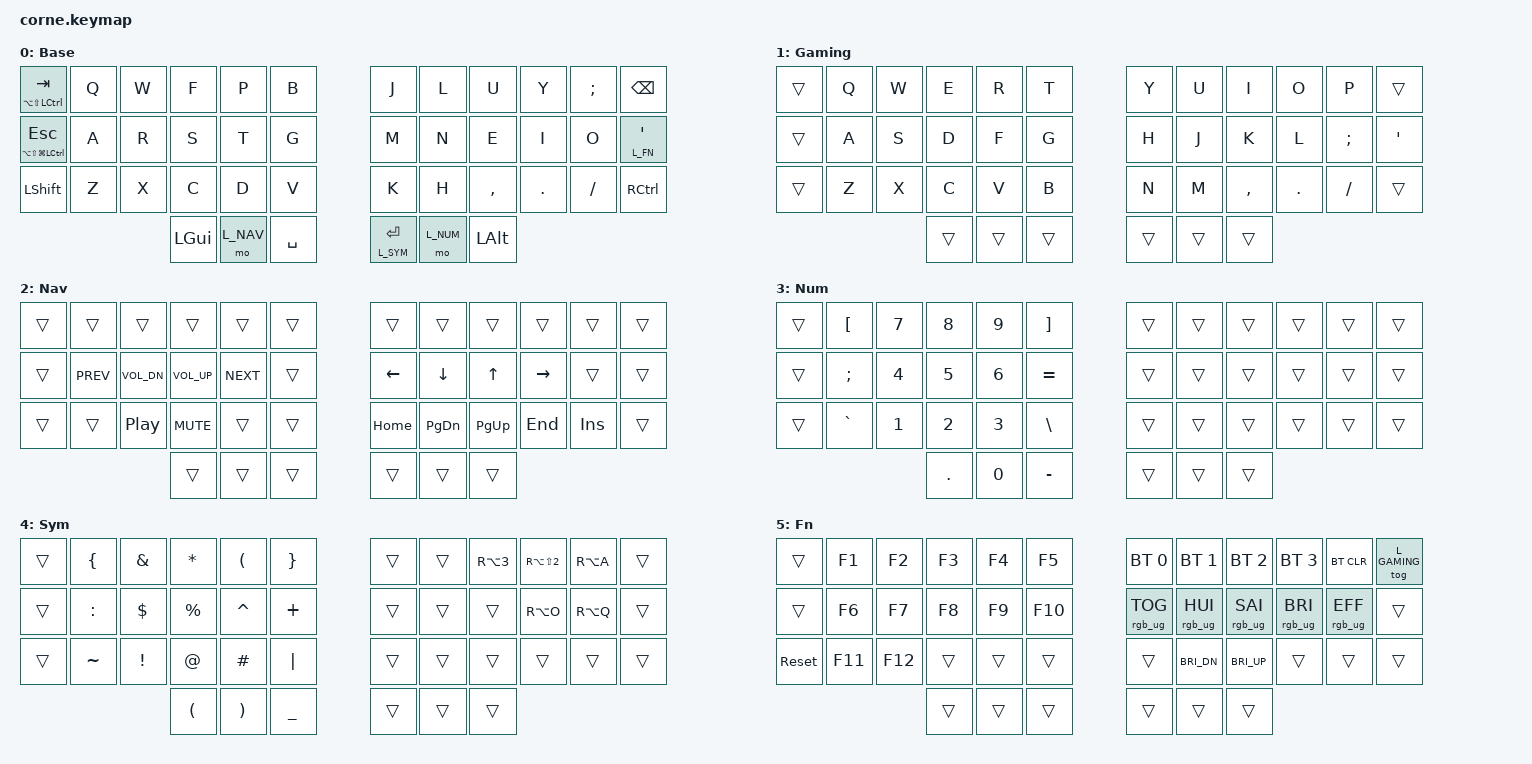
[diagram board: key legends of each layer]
// vim: ft=c
/*
 *
 * Inspired by:
 *  - https://github.com/urob/zmk-config
 *  - https://github.com/manna-harbour/miryoku
 *  - https://github.com/Vermoot/qmk_keymaps/tree/master/kyria/keymaps/Vermoot
 *  - https://github.com/minusfive/zmk-config
 *  - https://github.com/markstos/qmk_firmware/tree/markstos
 *
 */

#include <behaviors.dtsi>
#include <dt-bindings/zmk/keys.h>
#include <dt-bindings/zmk/bt.h>
#include <dt-bindings/zmk/rgb.h>

// define layer names
#define L_BASE 0
#define L_GAMING 1
#define L_NAV 2
#define L_NUM 3
#define L_SYM 4
#define L_FN 5

// global settings
#define TAPPING_TERM_MS 200
#define QUICK_TAP_MS 100

// key aliases
#define ___ &trans            // transparent, inherit key from lower layer
#define MEH LA(LS(LCTRL))     // meh modifier combo: ctrl+alt+shift
#define HYP LA(LS(LG(LCTRL))) // hyper modifier combo: ctrl+alt+command+shift

// mod-tap: long-tap action on hold, short-tap action on all interrupts
&mt {
  flavor = "tap-preferred";
  tapping-term-ms = <TAPPING_TERM_MS>;
  quick-tap-ms = <QUICK_TAP_MS>;
};

// light up all leds
&led_strip {
  chain-length = <27>;
};

// nice!view needs some tweaks to work with leds enabled
&nice_view_spi {
    cs-gpios = <&pro_micro 0 GPIO_ACTIVE_HIGH>;
};

// fn layer shortcuts
#define FN_RGB_TOG &rgb_ug RGB_TOG
#define FN_RGB_HUI &rgb_ug RGB_HUI
#define FN_RGB_SAI &rgb_ug RGB_SAI
#define FN_RGB_BRI &rgb_ug RGB_BRI
#define FN_RGB_EFF &rgb_ug RGB_EFF

/*                                      42 KEY MATRIX / LAYOUT MAPPING

  ╭────────────────────────┬────────────────────────╮ ╭─────────────────────────┬─────────────────────────╮
  │  0   1   2   3   4   5 │  6   7   8   9  10  11 │ │ LT5 LT4 LT3 LT2 LT1 LT0 │ RT0 RT1 RT2 RT3 RT4 RT5 │
  │ 12  13  14  15  16  17 │ 18  19  20  21  22  23 │ │ LM5 LM4 LM3 LM2 LM1 LM0 │ RM0 RM1 RM2 RM3 RM4 RM5 │
  │ 24  25  26  27  28  29 │ 30  31  32  33  34  35 │ │ LB5 LB4 LB3 LB2 LB1 LB0 │ RB0 RB1 RB2 RB3 RB4 RB5 │
  ╰───────────╮ 36  37  38 │ 39  40  41 ╭───────────╯ ╰───────────╮ LH2 LH1 LH0 │ RH0 RH1 RH2 ╭───────────╯
              ╰────────────┴────────────╯                         ╰─────────────┴─────────────╯             */

/ {
  keymap {
    compatible = "zmk,keymap";

    base_layer {
      label = "Base";
      bindings = <
        //╭───────────────┬───────────────┬───────────────┬───────────────┬───────────────┬───────────────╮     ╭───────────────┬───────────────┬───────────────┬───────────────┬───────────────┬───────────────╮
            &mt MEH TAB     &kp Q           &kp W           &kp F           &kp P           &kp B                 &kp J           &kp L           &kp U           &kp Y           &kp SEMI        &kp BSPC
        //├───────────────┼───────────────┼───────────────┼───────────────┼───────────────┤───────────────┤     ├───────────────┼───────────────┼───────────────┼───────────────┤───────────────┼───────────────┤
            &mt HYP ESC     &kp A           &kp R           &kp S           &kp T           &kp G                 &kp M           &kp N           &kp E           &kp I           &kp O           &lt L_FN SQT
        //├───────────────┼───────────────┼───────────────┼───────────────┼───────────────┤───────────────┤     ├───────────────┼───────────────┼───────────────┼───────────────┤───────────────┼───────────────┤
            &kp LSHIFT      &kp Z           &kp X           &kp C           &kp D           &kp V                 &kp K           &kp H           &kp COMMA       &kp DOT         &kp FSLH        &kp RCTRL
        //╰───────────────┼───────────────┴───────────────┼───────────────┼───────────────┤───────────────┤     ├───────────────┼───────────────┼───────────────┼───────────────┼───────────────┼───────────────╯
                                                            &kp LGUI        &mo L_NAV       &kp SPACE             &lt L_SYM RET   &mo L_NUM       &kp LALT
        //                                                ╰───────────────┴───────────────┴───────────────╯     ╰───────────────┴───────────────┴───────────────╯
      >;
    };

    gaming_layer {
      label = "Gaming";
      bindings = <
        //╭───────────────┬───────────────┬───────────────┬───────────────┬───────────────┬───────────────╮     ╭───────────────┬───────────────┬───────────────┬───────────────┬───────────────┬───────────────╮
            ___             &kp Q           &kp W           &kp E           &kp R           &kp T                 &kp Y           &kp U           &kp I           &kp O           &kp P           ___
        //├───────────────┼───────────────┼───────────────┼───────────────┼───────────────┤───────────────┤     ├───────────────┼───────────────┼───────────────┼───────────────┤───────────────┼───────────────┤
            ___             &kp A           &kp S           &kp D           &kp F           &kp G                 &kp H           &kp J           &kp K           &kp L           &kp SEMI        &kp SQT
        //├───────────────┼───────────────┼───────────────┼───────────────┼───────────────┤───────────────┤     ├───────────────┼───────────────┼───────────────┼───────────────┤───────────────┼───────────────┤
            ___             &kp Z           &kp X           &kp C           &kp V           &kp B                 &kp N           &kp M           &kp COMMA       &kp DOT         &kp FSLH       ___
        //╰───────────────┼───────────────┴───────────────┼───────────────┼───────────────┤───────────────┤     ├───────────────┼───────────────┼───────────────┼───────────────┼───────────────┼───────────────╯
                                                            ___             ___             ___                   ___             ___             ___
        //                                                ╰───────────────┴───────────────┴───────────────╯     ╰───────────────┴───────────────┴───────────────╯
      >;
    };

    nav_layer {
      label = "Nav";
      bindings = <
        //╭───────────────┬───────────────┬───────────────┬───────────────┬───────────────┬───────────────╮     ╭───────────────┬───────────────┬───────────────┬───────────────┬───────────────┬───────────────╮
            ___             ___             ___             ___             ___             ___                   ___             ___             ___             ___             ___             ___
        //├───────────────┼───────────────┼───────────────┼───────────────┼───────────────┤───────────────┤     ├───────────────┼───────────────┼───────────────┼───────────────┤───────────────┼───────────────┤
            ___             &kp C_PREV      &kp C_VOL_DN    &kp C_VOL_UP    &kp C_NEXT      ___                   &kp LEFT        &kp DOWN        &kp UP          &kp RIGHT       ___             ___
        //├───────────────┼───────────────┼───────────────┼───────────────┼───────────────┤───────────────┤     ├───────────────┼───────────────┼───────────────┼───────────────┤───────────────┼───────────────┤
            ___             ___             &kp C_PP        &kp C_MUTE      ___             ___                   &kp HOME        &kp PG_DN       &kp PG_UP       &kp END         &kp INS         ___
        //╰───────────────┼───────────────┴───────────────┼───────────────┼───────────────┤───────────────┤     ├───────────────┼───────────────┼───────────────┼───────────────┼───────────────┼───────────────╯
                                                            ___             ___             ___                   ___             ___             ___
        //                                                ╰───────────────┴───────────────┴───────────────╯     ╰───────────────┴───────────────┴───────────────╯
      >;
    };

    num_layer {
      label = "Num";
      bindings = <
        //╭───────────────┬───────────────┬───────────────┬───────────────┬───────────────┬───────────────╮     ╭───────────────┬───────────────┬───────────────┬───────────────┬───────────────┬───────────────╮
            ___             &kp LBKT        &kp N7          &kp N8          &kp N9          &kp RBKT              ___             ___             ___             ___             ___             ___
        //├───────────────┼───────────────┼───────────────┼───────────────┼───────────────┤───────────────┤     ├───────────────┼───────────────┼───────────────┼───────────────┤───────────────┼───────────────┤
            ___             &kp SEMI        &kp N4          &kp N5          &kp N6          &kp EQUAL             ___             ___             ___             ___             ___             ___
        //├───────────────┼───────────────┼───────────────┼───────────────┼───────────────┤───────────────┤     ├───────────────┼───────────────┼───────────────┼───────────────┤───────────────┼───────────────┤
            ___             &kp GRAVE       &kp N1          &kp N2          &kp N3          &kp BSLH              ___             ___             ___             ___             ___             ___
        //╰───────────────┼───────────────┴───────────────┼───────────────┼───────────────┤───────────────┤     ├───────────────┼───────────────┼───────────────┼───────────────┼───────────────┼───────────────╯
                                                            &kp DOT         &kp N0          &kp MINUS             ___             ___             ___
        //                                                ╰───────────────┴───────────────┴───────────────╯     ╰───────────────┴───────────────┴───────────────╯
      >;
    };

    sym_layer {
      label = "Sym";
      bindings = <
        //╭───────────────┬───────────────┬───────────────┬───────────────┬───────────────┬───────────────╮     ╭───────────────┬───────────────┬───────────────┬───────────────┬───────────────┬───────────────╮
            ___             &kp LBRC        &kp AMPS        &kp STAR        &kp LPAR        &kp RBRC              ___             ___             &kp RA(N3)      &kp RA(LS(N2))  &kp RA(A)       ___
        //├───────────────┼───────────────┼───────────────┼───────────────┼───────────────┤───────────────┤     ├───────────────┼───────────────┼───────────────┼───────────────┤───────────────┼───────────────┤
            ___             &kp COLON       &kp DOLLAR      &kp PRCNT       &kp CARET       &kp PLUS              ___             ___             ___             &kp RA(O)       &kp RA(Q)       ___
        //├───────────────┼───────────────┼───────────────┼───────────────┼───────────────┤───────────────┤     ├───────────────┼───────────────┼───────────────┼───────────────┤───────────────┼───────────────┤
            ___             &kp TILDE       &kp EXCL        &kp AT          &kp HASH        &kp PIPE              ___             ___             ___             ___             ___             ___
        //╰───────────────┼───────────────┴───────────────┼───────────────┼───────────────┤───────────────┤     ├───────────────┼───────────────┼───────────────┼───────────────┼───────────────┼───────────────╯
                                                            &kp LPAR        &kp RPAR        &kp UNDER             ___             ___             ___
        //                                                ╰───────────────┴───────────────┴───────────────╯     ╰───────────────┴───────────────┴───────────────╯
      >;
    };

    fn_layer {
      label = "Fn";
      bindings = <
        //╭───────────────┬───────────────┬───────────────┬───────────────┬───────────────┬───────────────╮     ╭───────────────┬───────────────┬───────────────┬───────────────┬───────────────┬───────────────╮
            ___             &kp F1          &kp F2          &kp F3          &kp F4          &kp F5                &bt BT_SEL 0    &bt BT_SEL 1    &bt BT_SEL 2    &bt BT_SEL 3    &bt BT_CLR      &tog L_GAMING
        //├───────────────┼───────────────┼───────────────┼───────────────┼───────────────┤───────────────┤     ├───────────────┼───────────────┼───────────────┼───────────────┤───────────────┼───────────────┤
            ___             &kp F6          &kp F7          &kp F8          &kp F9          &kp F10               FN_RGB_TOG      FN_RGB_HUI      FN_RGB_SAI      FN_RGB_BRI      FN_RGB_EFF      ___
        //├───────────────┼───────────────┼───────────────┼───────────────┼───────────────┤───────────────┤     ├───────────────┼───────────────┼───────────────┼───────────────┤───────────────┼───────────────┤
            &sys_reset      &kp F11         &kp F12         ___             ___             ___                   ___             &kp C_BRI_DN    &kp C_BRI_UP    ___             ___             ___
        //╰───────────────┼───────────────┴───────────────┼───────────────┼───────────────┤───────────────┤     ├───────────────┼───────────────┼───────────────┼───────────────┼───────────────┼───────────────╯
                                                            ___             ___             ___                   ___             ___             ___
        //                                                ╰───────────────┴───────────────┴───────────────╯     ╰───────────────┴───────────────┴───────────────╯
      >;
    };
  };
};
